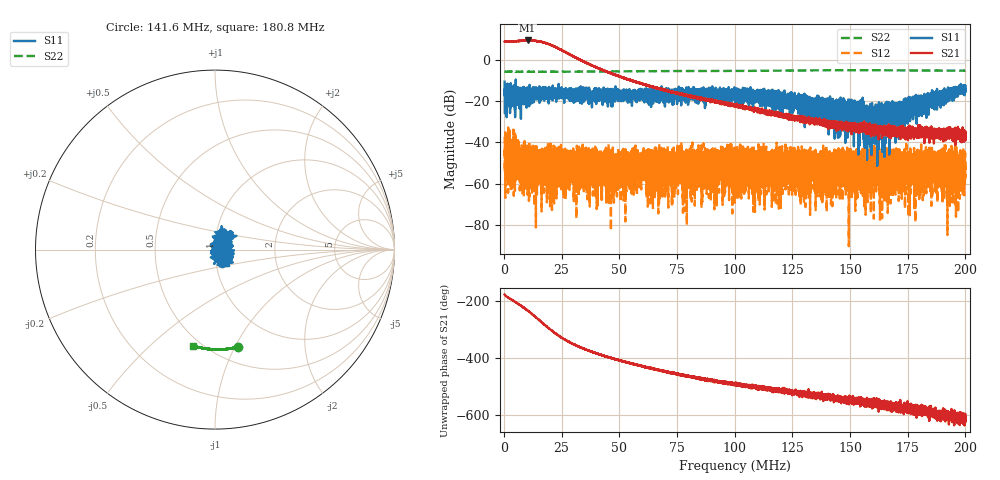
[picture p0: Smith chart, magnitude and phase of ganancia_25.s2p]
# Hz S DB R 50
! CMT, M5065, 19127446, 24.2.4/2
! Date: 11/8/2024 4:23:48 PM
! Data: Format (Calibration Info)
! Freq	S11:dB/Ang(F2)	S21:dB/Ang(F2)	S12:dB/Ang(F2)	S22:dB/Ang(F2)
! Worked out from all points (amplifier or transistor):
!   9000 points, 300 kHz to 200 MHz, reference 50 ohm
!   highest |S21| = 9.3 dB at 10.24 MHz (marker M1)
!   |S21| within 3 dB of that: start of sweep to 22.03 MHz
!   unconditionally stable (mu >= 1): start of sweep to end of sweep
!   at 33.59 MHz: K = 186.05, MAG = 1.2 dB, |S12| = -54.1 dB
!   at 100.2 MHz: K = 564.57, MAG = -20.2 dB, |S12| = -42.4 dB
!   at 200 MHz: K = 3311.46, MAG = -33.1 dB, |S12| = -45.0 dB
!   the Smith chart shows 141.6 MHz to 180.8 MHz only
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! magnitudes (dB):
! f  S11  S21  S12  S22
! 300 kHz  -10.6  8.7  -43.7  -5.8
! 1.787 MHz  -20.4  8.8  -48.1  -5.8
! 10.24 MHz  -14.8  9.3  -44.5  -5.8
! 19.1 MHz  -16.3  7.7  -40.2  -5.8
! 33.59 MHz  -15.4  -0.3  -54.1  -5.7
! 46.3 MHz  -15.7  -6.5  -50.3  -5.6
! 48.32 MHz  -16.7  -7.4  -48.2  -5.6
! 53.32 MHz  -18.5  -9.2  -51.4  -5.6
! 66.87 MHz  -16.3  -13.8  -48.9  -5.5
! 75.75 MHz  -17.2  -16.2  -49.2  -5.5
! 81.94 MHz  -19.4  -18.0  -65.1  -5.4
! 97.7 MHz  -19.2  -21.2  -51.5  -5.4
! 100.2 MHz  -17.2  -21.8  -42.4  -5.4
! 133.4 MHz  -22.9  -28.5  -44.6  -5.1
! 142.6 MHz  -20.3  -31.0  -49.6  -5.1
! 154.8 MHz  -23.6  -34.3  -47.2  -5.1
! 157 MHz  -25.0  -34.4  -52.4  -5.1
! 166.7 MHz  -22.8  -35.0  -50.2  -5.1
! 181 MHz  -20.4  -37.4  -58.3  -5.2
! 193.5 MHz  -15.3  -33.1  -53.8  -5.2
! 196.7 MHz  -14.5  -38.4  -45.0  -5.2
! 200 MHz  -15.2  -34.8  -45.0  -5.3
